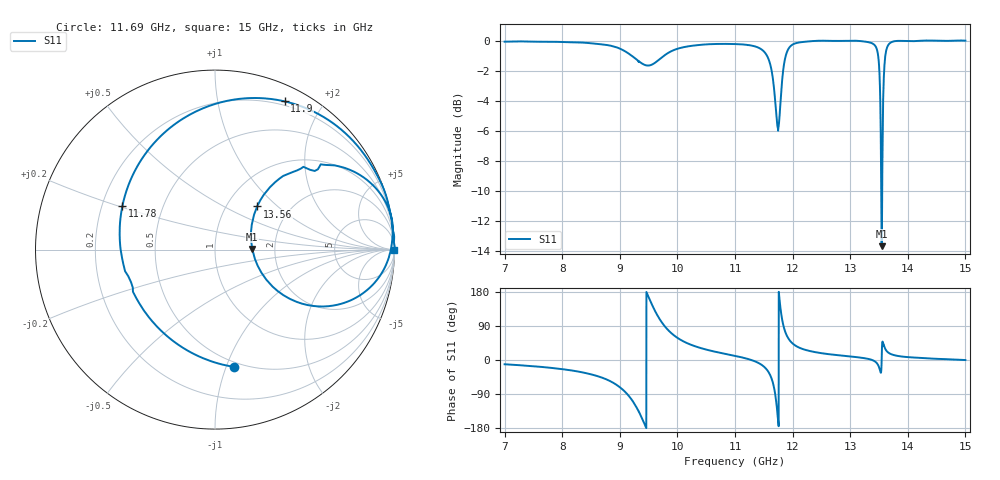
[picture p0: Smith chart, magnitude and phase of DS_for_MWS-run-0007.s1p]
! TOUCHSTONE file generated by CST DESIGN STUDIO
! Date and time: Mon Feb 10 16:42:57 2025
! Project name: C:\Work\MatlabApps\UnitCellType2OptimizationMatlab\CST\unitcell.cst
! Tree item: Tasks\Sweep1\SPara1\S-Parameters
! Header version: 2024
! Port assignment regex: !\s*Touchstone port\s*([0-9]+)\s*=\s*(CST MWS port|CST DES external port|CST DES block port)\s*(.+)\s* \(\"(.*)\"\)(\s*mode\s*([0-9]+))?.*
! Touchstone port assignment:
! Touchstone port 1 = CST DES external port 1 ("")
# GHz S MA R 50
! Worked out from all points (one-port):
!   4001 points, 7 GHz to 15 GHz, reference 50 ohm
!   lowest |S11| = -13.7 dB at 13.55 GHz (marker M1), VSWR 1.52, Z = 76.1 + j0.602 ohm
!   |S11| at or under -10 dB: 13.53869 GHz to 13.55512 GHz (16.44 MHz wide, 0.121 % of centre)
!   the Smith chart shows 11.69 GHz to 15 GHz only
!   S11 on the Smith chart (normalised r, x): 11.69 GHz: 0.46, -1.06; 11.78 GHz: 0.29, +0.21; 11.9 GHz: 0.16, +1.56; 13.56 GHz: 1.38, +0.75; 15 GHz: open
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7  0.992 -11.2
8  0.9892 -24.2
8.636  0.974 -43.7
9  0.9409 -71.8
9.256  0.8762 -116.1
9.466  0.8269 178.1
9.692  0.8679 107.9
10  0.9394 58.5
10.374  0.9673 32.9
11  0.9741 10.9
11.516  0.9141 -19.4
11.614  0.8303 -41.0
11.688  0.6619 -80.8
11.74  0.5152 -148.2
11.776  0.5709 154.5
11.832  0.7839 96.3
11.898  0.9123 64.9
12  0.9703 43.6
12.292  0.9946 23.9
13  0.9998 9.5
13.436  0.9602 -4.5
13.504  0.809 -20.4
13.546  0.2073 1.0
13.556  0.336 45.7
13.596  0.8331 33.8
13.67  0.9724 18.6
14  0.996 7.6
15  0.9997 -0.1
